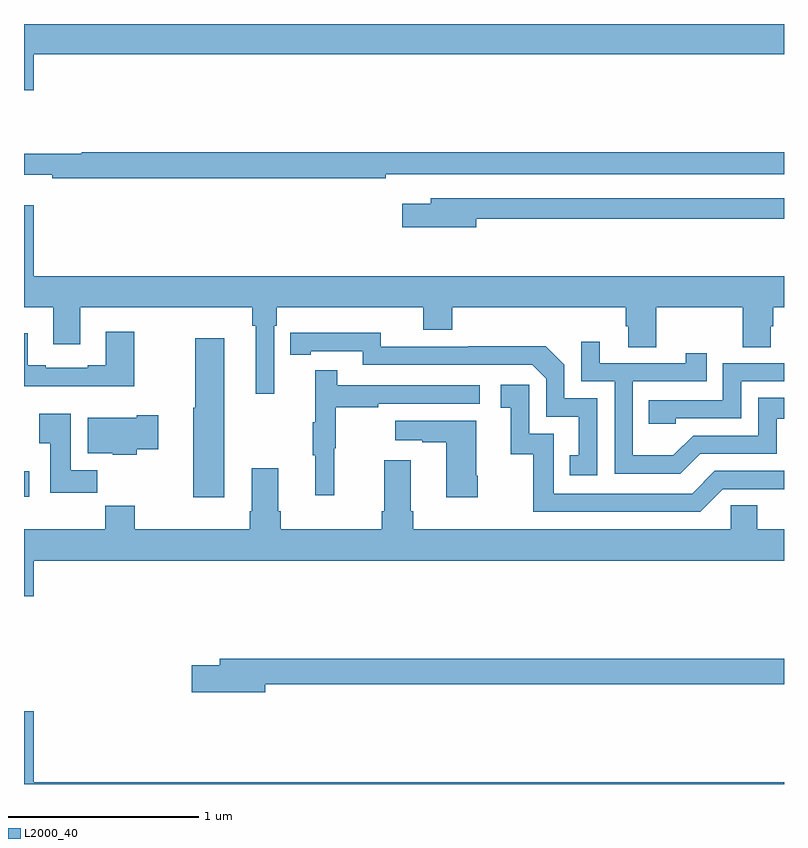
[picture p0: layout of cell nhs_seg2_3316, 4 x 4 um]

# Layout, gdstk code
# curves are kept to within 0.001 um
import gdstk
lib = gdstk.Library(unit=1e-6, precision=1e-09)
def R(c, l, rs):  # rectangles x0, y0, x1, y1
    for r in rs: c.add(gdstk.rectangle(r[:2], r[2:], *l))
def P(c, l, *ps):  # polygons
    for p in ps: c.add(gdstk.Polygon(p, *l))
L2000_40 = (2000, 40)

nhs_seg2_3316 = lib.new_cell('nhs_seg2_3316')
R(nhs_seg2_3316, L2000_40, [(285,641.312,285.028,641.446)])
P(nhs_seg2_3316, L2000_40, [(285.052,643.64),(289,643.64),(289,643.8),(285,643.8),(285,643.452),(285.052,643.452)],
  [(286.904,643.008),(289,643.008),(289,643.124),(285.305,643.124),(285.305,643.117),(285,643.117),(285,643.007),(285.148,643.007),(285.148,642.988),(286.904,642.988)],
  [(287.38,642.774),(289,642.774),(289,642.882),(287.141,642.882),(287.141,642.853),(286.992,642.853),(286.992,642.731),(287.38,642.731)],
  [(286.317,642.212),(286.331,642.212),(286.331,642.308),(287.102,642.308),(287.102,642.191),(287.255,642.191),(287.255,642.308),(288.167,642.308),(288.167,642.21),(288.179,642.21),(288.179,642.1),(288.327,642.1),(288.327,642.308),(288.784,642.308),(288.784,642.1),(288.931,642.1),(288.931,642.21),(288.944,642.21),(288.944,642.308),(289,642.308),(289,642.472),(285.052,642.472),(285.052,642.847),(285,642.847),(285,642.308),(285.155,642.308),(285.155,642.114),(285.295,642.114),(285.295,642.308),(286.201,642.308),(286.201,642.212),(286.22,642.212),(286.22,641.853),(286.317,641.853)],
  [(285.579,642.181),(285.431,642.181),(285.431,642.004),(285.335,642.004),(285.335,641.991),(285.115,641.991),(285.115,642.004),(285.019,642.004),(285.019,642.172),(285,642.172),(285,641.894),(285.579,641.894)],
  [(288.018,641.829),(287.844,641.829),(287.844,642.006),(287.746,642.104),(287.338,642.104),(287.338,642.102),(286.878,642.102),(286.878,642.175),(286.402,642.174),(286.402,642.058),(286.51,642.058),(286.51,642.078),(286.782,642.078),(286.782,642.006),(287.676,642.006),(287.748,641.934),(287.748,641.733),(287.921,641.733),(287.921,641.529),(287.872,641.529),(287.872,641.424),(288.018,641.424)],
  [(286.054,642.145),(285.901,642.145),(285.901,641.781),(285.89,641.781),(285.89,641.31),(286.054,641.31)],
  [(288.559,641.538),(288.963,641.538),(288.963,641.723),(289,641.723),(289,641.833),(288.864,641.833),(288.864,641.634),(288.522,641.634),(288.418,641.53),(288.204,641.53),(288.204,641.919),(288.593,641.919),(288.593,642.067),(288.482,642.067),(288.482,642.015),(288.031,642.015),(288.031,642.127),(287.934,642.127),(287.934,641.919),(288.108,641.919),(288.108,641.433),(288.454,641.433)],
  [(288.429,641.724),(288.774,641.724),(288.774,641.919),(289,641.919),(289,642.015),(288.678,642.015),(288.678,641.82),(288.289,641.82),(288.289,641.697),(288.429,641.697)],
  [(286.634,641.568),(286.642,641.568),(286.642,641.782),(286.865,641.782),(286.865,641.802),(287.398,641.802),(287.398,641.898),(286.649,641.898),(286.649,641.977),(286.532,641.977),(286.532,641.705),(286.521,641.705),(286.521,641.531),(286.532,641.531),(286.532,641.319),(286.634,641.319)],
  [(288.678,641.352),(289,641.352),(289,641.448),(288.636,641.448),(288.516,641.328),(287.787,641.328),(287.787,641.643),(287.658,641.643),(287.658,641.902),(287.508,641.902),(287.508,641.781),(287.561,641.781),(287.561,641.535),(287.679,641.535),(287.679,641.232),(288.558,641.232)],
  [(285.386,641.452),(285.247,641.452),(285.247,641.749),(285.08,641.749),(285.08,641.593),(285.137,641.593),(285.137,641.334),(285.386,641.334)],
  [(285.594,641.563),(285.706,641.563),(285.706,641.741),(285.593,641.741),(285.593,641.728),(285.335,641.728),(285.335,641.54),(285.468,641.54),(285.468,641.534),(285.594,641.534)],
  [(287.388,641.422),(287.38,641.422),(287.38,641.713),(286.953,641.713),(286.953,641.609),(287.096,641.609),(287.096,641.599),(287.222,641.599),(287.222,641.31),(287.388,641.31)],
  [(285.052,640.976),(289,640.976),(289,641.14),(288.859,641.14),(288.859,641.267),(288.72,641.267),(288.72,641.14),(287.048,641.14),(287.048,641.236),(287.035,641.236),(287.035,641.503),(286.895,641.503),(286.895,641.236),(286.883,641.236),(286.883,641.14),(286.352,641.14),(286.352,641.236),(286.339,641.236),(286.339,641.461),(286.199,641.461),(286.199,641.236),(286.187,641.236),(286.187,641.14),(285.584,641.14),(285.584,641.264),(285.427,641.264),(285.427,641.14),(285,641.14),(285,640.788),(285.052,640.788)],
  [(286.27,640.324),(289,640.324),(289,640.46),(286.031,640.46),(286.031,640.424),(285.882,640.424),(285.882,640.282),(286.27,640.282)],
  [(289,639.808),(285.052,639.808),(285.052,640.183),(285,640.183),(285,639.8),(289,639.8)])

lib.write_gds('nhs_seg2_3316.gds')
